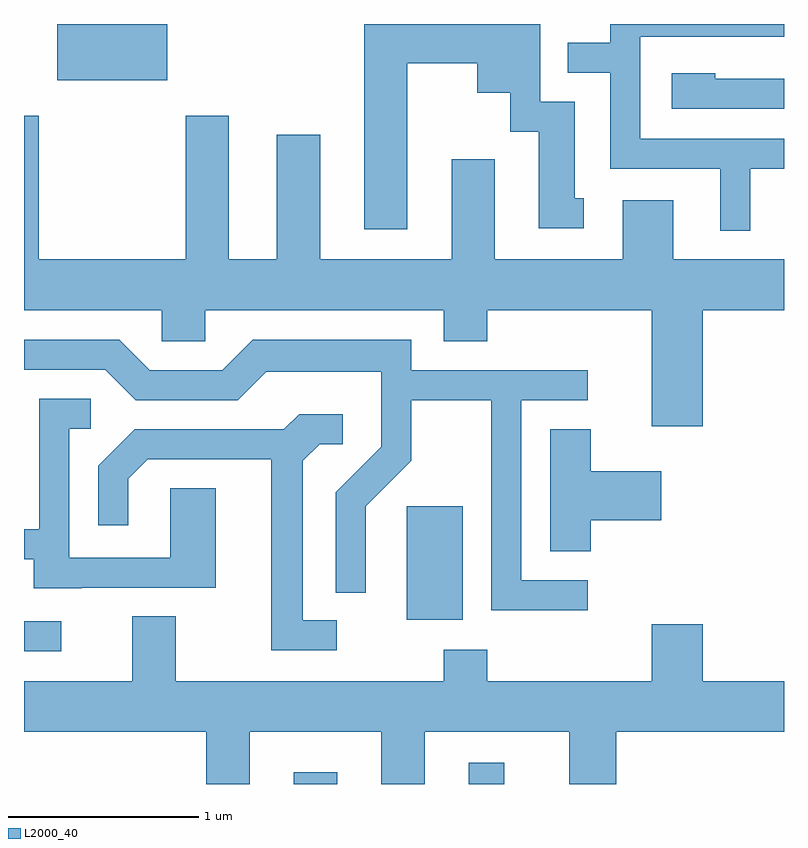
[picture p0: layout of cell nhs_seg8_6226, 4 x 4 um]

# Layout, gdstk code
import gdstk
lib = gdstk.Library(unit=1e-6, precision=1e-09)
def R(c, l, rs):  # rectangles x0, y0, x1, y1
    for r in rs: c.add(gdstk.rectangle(r[:2], r[2:], *l))
def P(c, l, *ps):  # polygons
    for p in ps: c.add(gdstk.Polygon(p, *l))
L2000_40 = (2000, 40)

nhs_seg8_6226 = lib.new_cell('nhs_seg8_6226')
R(nhs_seg8_6226, L2000_40, [(373.031,1858.342,373.259,1858.404), (373.951,1858.342,374.139,1858.454), (371.611,1859.041,371.808,1859.199), (373.626,1859.206,373.919,1859.804), (371.786,1862.046,372.364,1862.342)])
P(nhs_seg8_6226, L2000_40, [(373.629,1862.136),(373.996,1862.136),(373.996,1861.981),(374.171,1861.981),(374.171,1861.776),(374.321,1861.776),(374.321,1861.266),(374.558,1861.266),(374.558,1861.424),(374.509,1861.424),(374.509,1861.934),(374.329,1861.934),(374.329,1862.342),(373.401,1862.342),(373.401,1861.261),(373.629,1861.261)],
  [(375.434,1861.581),(375.611,1861.581),(375.611,1861.739),(374.854,1861.739),(374.854,1862.276),(375.611,1862.276),(375.611,1862.342),(374.696,1862.342),(374.696,1862.244),(374.473,1862.244),(374.473,1862.086),(374.696,1862.086),(374.696,1861.581),(375.276,1861.581),(375.276,1861.253),(375.434,1861.253)],
  [(375.611,1862.054),(375.249,1862.054),(375.249,1862.084),(375.021,1862.084),(375.021,1861.896),(375.611,1861.896)],
  [(373.821,1860.671),(374.049,1860.671),(374.049,1860.836),(374.916,1860.836),(374.916,1860.226),(375.184,1860.226),(375.184,1860.836),(375.611,1860.836),(375.611,1861.104),(375.029,1861.104),(375.029,1861.414),(374.761,1861.414),(374.761,1861.104),(374.089,1861.104),(374.089,1861.629),(373.861,1861.629),(373.861,1861.104),(373.169,1861.104),(373.169,1861.759),(372.941,1861.759),(372.941,1861.104),(372.689,1861.104),(372.689,1861.859),(372.461,1861.859),(372.461,1861.104),(371.689,1861.104),(371.689,1861.859),(371.611,1861.859),(371.611,1860.836),(372.336,1860.836),(372.336,1860.671),(372.564,1860.671),(372.564,1860.836),(373.821,1860.836)],
  [(374.578,1859.414),(374.229,1859.414),(374.229,1860.361),(374.578,1860.361),(374.578,1860.519),(373.649,1860.519),(373.649,1860.679),(372.814,1860.679),(372.654,1860.519),(372.272,1860.519),(372.112,1860.679),(371.611,1860.679),(371.611,1860.521),(372.039,1860.521),(372.199,1860.361),(372.737,1860.361),(372.887,1860.511),(373.491,1860.511),(373.491,1860.117),(373.251,1859.877),(373.251,1859.348),(373.409,1859.348),(373.409,1859.804),(373.649,1860.044),(373.649,1860.361),(374.071,1860.361),(374.071,1859.256),(374.578,1859.256)],
  [(371.915,1859.376),(372.619,1859.376),(372.619,1859.899),(372.381,1859.899),(372.381,1859.534),(371.849,1859.534),(371.849,1860.211),(371.963,1860.211),(371.963,1860.369),(371.691,1860.369),(371.691,1859.684),(371.611,1859.684),(371.611,1859.526),(371.661,1859.526),(371.661,1859.371),(371.915,1859.371)],
  [(373.258,1859.204),(373.079,1859.204),(373.079,1860.044),(373.167,1860.131),(373.288,1860.131),(373.288,1860.289),(373.059,1860.289),(372.979,1860.209),(372.194,1860.209),(372.001,1860.017),(372.001,1859.703),(372.159,1859.703),(372.159,1859.949),(372.262,1860.051),(372.911,1860.051),(372.911,1859.046),(373.258,1859.046)],
  [(374.594,1859.731),(374.964,1859.731),(374.964,1859.989),(374.594,1859.989),(374.594,1860.209),(374.381,1860.209),(374.381,1859.566),(374.594,1859.566)],
  [(372.799,1858.616),(373.491,1858.616),(373.491,1858.342),(373.719,1858.342),(373.719,1858.616),(374.481,1858.616),(374.481,1858.342),(374.729,1858.342),(374.729,1858.616),(375.611,1858.616),(375.611,1858.884),(375.184,1858.884),(375.184,1859.184),(374.916,1859.184),(374.916,1858.884),(374.049,1858.884),(374.049,1859.049),(373.821,1859.049),(373.821,1858.884),(372.409,1858.884),(372.409,1859.224),(372.181,1859.224),(372.181,1858.884),(371.611,1858.884),(371.611,1858.616),(372.571,1858.616),(372.571,1858.342),(372.799,1858.342)])

lib.write_gds('nhs_seg8_6226.gds')
